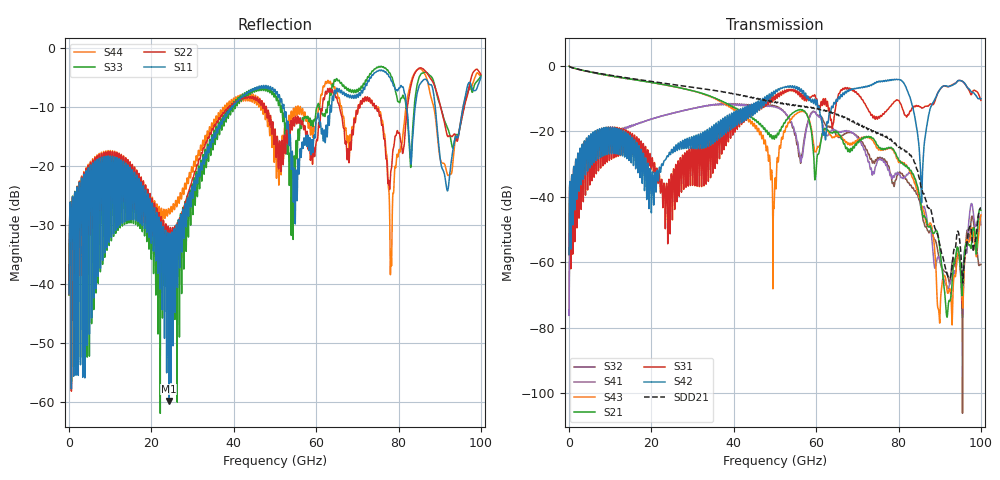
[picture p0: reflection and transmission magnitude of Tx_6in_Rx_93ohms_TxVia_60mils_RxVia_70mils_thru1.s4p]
! Info: Touchstone file created by Circ.  Input file=Tx_6in_Rx_93ohms_TxVia_60mils_RxVia_70mils.circ
# Hz S RI R 50
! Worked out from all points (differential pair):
!   10000 points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, 10 MHz to 100 GHz, reference 50 ohm
!   strongest paths, dB at 10 MHz, 25.01 GHz, 50.01 GHz, 75.01 GHz, 100 GHz:
!     S42: -57.7, -25.8, -8.4, -5.0, -10.0
!     S31: -57.7, -38.5, -10.3, -15.7, -10.5
!     S21: -0.1, -6.2, -21.4, -24.4, -44.1
!     S43: -0.1, -6.2, -34.4, -25.2, -45.5
!     S41: -76.2, -14.5, -12.5, -28.7, -48.6
!     S32: -76.2, -14.5, -12.2, -28.0, -60.7
!   taken as a pair (ports 1,3 in; 2,4 out), SDD21 dB: -0.1, -5.6, -11.0, -20.5, -43.3
!   lowest |S11| = -59.8 dB at 24.22 GHz (marker M1), VSWR 1.00, Z = 50.1 - j0.087 ohm
!   |S11| at or under -10 dB: start of sweep to 39.52 GHz; 52.2 GHz to 63.39 GHz (11.19 GHz wide, 19.4 % of centre); 88.91 GHz to 95.7 GHz (6.795 GHz wide, 7.36 % of centre)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
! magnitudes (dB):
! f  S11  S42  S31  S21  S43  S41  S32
! 10 MHz  -41.7  -57.7  -57.7  -0.1  -0.1  -76.2  -76.2
! 3.76 GHz  -26.6  -23.1  -23.3  -1.5  -1.5  -27.6  -27.6
! 24.22 GHz  -59.8  -27.0  -34.8  -6.0  -6.0  -14.7  -14.7
! 78.46 GHz  -5.8  -4.1  -11.7  -25.3  -25.6  -34.5  -35.8
! 85.58 GHz  -5.8  -41.7  -12.8  -43.7  -42.7  -42.9  -44.2
! 91.85 GHz  -24.2  -6.2  -6.3  -76.5  -69.1  -67.6  -63.4
! 100 GHz  -5.0  -10.0  -10.5  -44.1  -45.5  -48.6  -60.7
